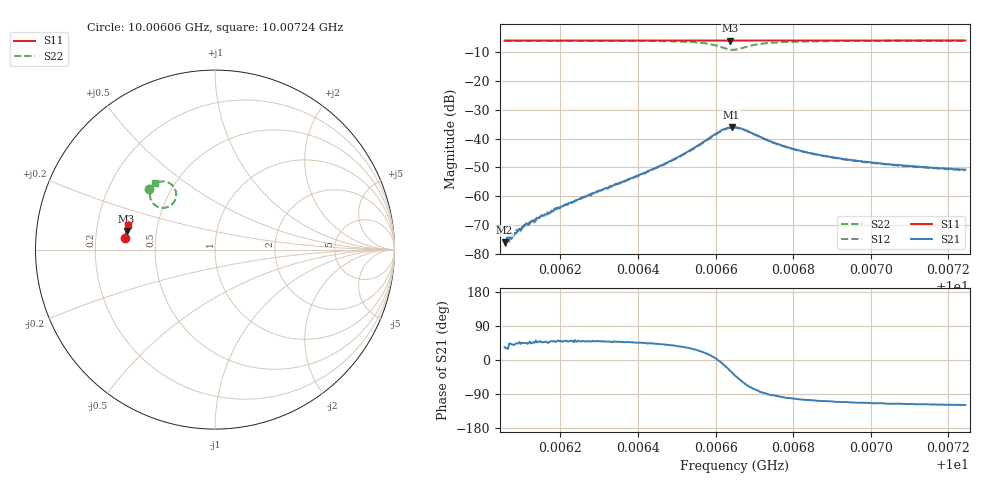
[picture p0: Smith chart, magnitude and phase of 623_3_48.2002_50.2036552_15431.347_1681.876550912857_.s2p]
#  HZ  S  RI  R  50.00
! Rohde & Schwarz Vector Network Analyzer
! Rohde-Schwarz,ZNB20-2Port,1311601062101988,3.16
! Created: UTC 3/20/2024, 12:04:00 PM
! freq[Hz]  re:S11  im:S11  re:S21  im:S21  re:S12  im:S12  re:S22  im:S22
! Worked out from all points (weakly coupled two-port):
!   401 points, 10.00606 GHz to 10.00724 GHz, reference 50 ohm
!   highest |S21| = -36.00 dB at 10.00664 GHz (marker M1); lowest = -75.9 dB at 10.00606 GHz (marker M2)
!   lowest |S11| = -6.0 dB at 10.00664 GHz (marker M3), VSWR 3.02, Z = 16.7 + j4.52 ohm
!   |S11| at or under -10 dB: nowhere
!   |S22| runs from -9.2 to -6.0 dB; largest |S21 - S12| = 0.0012
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1.0006056e10  -0.4991 0.0641  0.000133 8.89e-05  0.000149 9.38e-05  -0.3653 0.3396
1.0006062e10  -0.499 0.0643  0.000146 8.61e-05  0.000148 0.000135  -0.3648 0.34
1.0006092e10  -0.4987 0.0663  0.000184 0.000176  0.000183 0.000195  -0.3631 0.342
1.0006106e10  -0.4987 0.0672  0.000215 0.000212  0.000219 0.000236  -0.3621 0.3429
1.0006124e10  -0.4985 0.0684  0.000262 0.000248  0.000246 0.000262  -0.361 0.3441
1.0006136e10  -0.4985 0.0693  0.000252 0.000314  0.000241 0.000298  -0.3602 0.345
1.0006151e10  -0.4984 0.0702  0.000308 0.000332  0.000299 0.000365  -0.3591 0.3461
1.0006255e10  -0.4977 0.0769  0.000627 0.000736  0.000556 0.000738  -0.351 0.3542
1.0006454e10  -0.4958 0.09  0.00247 0.00222  0.00232 0.00226  -0.3216 0.3734
1.0006522e10  -0.4948 0.0945  0.00472 0.0031  0.00445 0.00326  -0.2953 0.3798
1.0006576e10  -0.4938 0.098  0.009 0.00285  0.00862 0.00321  -0.2535 0.37
1.0006614e10  -0.4927 0.1002  0.0138 -0.00164  0.0134 -0.000727  -0.2177 0.3204
1.0006638e10  -0.4923 0.1011  0.0136 -0.00756  0.014 -0.00652  -0.2285 0.2653
1.0006641e10  -0.4924 0.1012  0.0135 -0.00838  0.0136 -0.00733  -0.2333 0.259
1.000665e10  -0.4924 0.1015  0.0118 -0.0104  0.0123 -0.00942  -0.2503 0.2441
1.0006671e10  -0.4925 0.1026  0.00747 -0.0125  0.00825 -0.0118  -0.2966 0.2329
1.0006715e10  -0.4927 0.1055  0.00105 -0.0106  0.00177 -0.0106  -0.3514 0.2665
1.0006772e10  -0.4923 0.1093  -0.00106 -0.00749  -0.000655 -0.00744  -0.3631 0.3036
1.0006849e10  -0.4915 0.1144  -0.00159 -0.00533  -0.00127 -0.00529  -0.3595 0.3296
1.0006935e10  -0.4904 0.12  -0.0016 -0.00411  -0.00137 -0.00409  -0.353 0.3451
1.0007048e10  -0.4889 0.1271  -0.00155 -0.00323  -0.00133 -0.00326  -0.3451 0.3579
1.0007244e10  -0.486 0.1395  -0.0014 -0.00255  -0.00126 -0.00256  -0.3329 0.373
